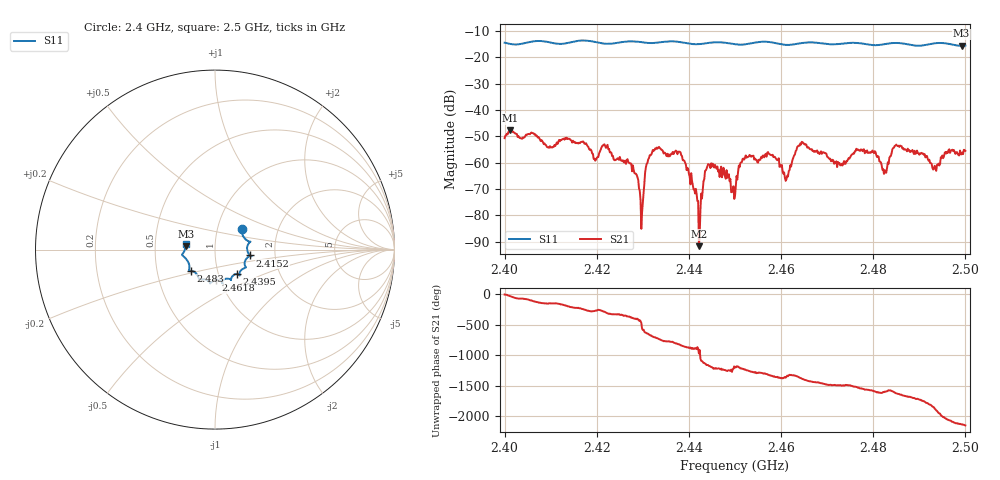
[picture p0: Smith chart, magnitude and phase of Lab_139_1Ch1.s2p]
# Hz S RI R 50
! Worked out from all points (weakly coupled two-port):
!   601 points, 2.4 GHz to 2.5 GHz, reference 50 ohm
!   highest |S21| = -47.69 dB at 2.4012 GHz (marker M1); lowest = -91.7 dB at 2.4422 GHz (marker M2)
!   lowest |S11| = -15.7 dB at 2.4992 GHz (marker M3), VSWR 1.39, Z = 35.9 + j1.35 ohm
!   |S11| at or under -10 dB: start of sweep to end of sweep
!   S12 and S22 are empty: the file has one direction only
!   S11 on the Smith chart (normalised r, x): 2.4 GHz: 1.31, +0.31; 2.4152 GHz: 1.48, -0.10; 2.4395 GHz: 1.23, -0.34; 2.4618 GHz: 0.95, -0.34; 2.483 GHz: 0.74, -0.18; 2.5 GHz: 0.72, +0.05
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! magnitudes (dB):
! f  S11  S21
! 2.4 GHz  -14.5  -50.7
! 2.4012 GHz  -15.0  -47.7
! 2.4152 GHz  -14.0  -52.4
! 2.4167 GHz  -13.7  -52.1
! 2.427 GHz  -14.0  -60.1
! 2.4297 GHz  -14.3  -85.1
! 2.4312 GHz  -14.6  -58.7
! 2.4333 GHz  -14.4  -54.3
! 2.4395 GHz  -14.7  -62.8
! 2.4422 GHz  -15.1  -91.7
! 2.4443 GHz  -14.6  -60.7
! 2.45 GHz  -15.1  -72.6
! 2.4528 GHz  -15.0  -57.8
! 2.4618 GHz  -15.3  -62.9
! 2.4642 GHz  -14.7  -52.7
! 2.4667 GHz  -14.4  -54.9
! 2.483 GHz  -14.9  -62.0
! 2.4833 GHz  -14.8  -60.4
! 2.485 GHz  -14.6  -53.2
! 2.4933 GHz  -14.7  -61.2
! 2.4992 GHz  -15.7  -56.9
! 2.5 GHz  -15.6  -55.5
